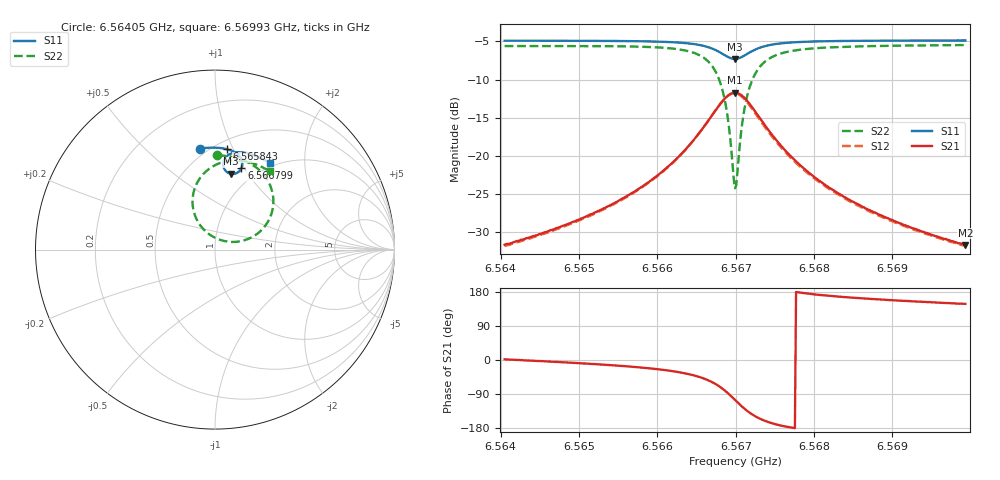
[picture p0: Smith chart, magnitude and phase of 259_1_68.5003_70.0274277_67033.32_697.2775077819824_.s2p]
#  HZ  S  RI  R  50.00
! Rohde & Schwarz Vector Network Analyzer
! Rohde-Schwarz,ZNB20-2Port,1311601062101988,3.16
! Created: UTC 3/20/2024, 5:00:10 PM
! freq[Hz]  re:S11  im:S11  re:S21  im:S21  re:S12  im:S12  re:S22  im:S22
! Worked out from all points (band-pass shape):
!   401 points, 6.56405 GHz to 6.56993 GHz, reference 50 ohm
!   highest |S21| = -11.74 dB at 6.56699 GHz (marker M1); lowest = -31.8 dB at 6.56993 GHz (marker M2)
!   |S21| within 3 dB of the highest: 6.566695 GHz to 6.567284 GHz (588.6 kHz wide, 0.00896 % of centre)
!   lowest |S11| = -7.3 dB at 6.56699 GHz (marker M3), VSWR 2.52, Z = 40.2 + j41.8 ohm
!   |S11| at or under -10 dB: nowhere
!   |S22| runs from -24.3 to -5.5 dB; largest |S21 - S12| = 0.012
!   S11 on the Smith chart (normalised r, x): 6.56405 GHz: 0.45, +0.75; 6.565843 GHz: 0.58, +0.94; 6.566799 GHz: 0.83, +0.97; 6.56993 GHz: 0.94, +1.35
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6.5640497e9  -0.0862 0.5625  0.0259 0.000824  0.0254 0.000281  0.0122 0.5247
6.5650347e9  -0.00691 0.5681  0.0382 -0.00592  0.0376 -0.0065  0.1017 0.515
6.5658433e9  0.0655 0.5595  0.0604 -0.023  0.0593 -0.0237  0.1975 0.4793
6.5660198e9  0.0834 0.5545  0.0683 -0.0316  0.0673 -0.0323  0.2244 0.4619
6.5663285e9  0.1171 0.5379  0.0872 -0.0594  0.0857 -0.0606  0.2799 0.4067
6.566549e9  0.142 0.5125  0.1007 -0.103  0.0984 -0.105  0.3189 0.3222
6.566696e9  0.1524 0.4823  0.0969 -0.156  0.0931 -0.1587  0.3202 0.2213
6.566799e9  0.1475 0.4534  0.0711 -0.2056  0.0647 -0.2082  0.2762 0.1279
6.5668872e9  0.1275 0.4299  0.0199 -0.2439  0.0105 -0.2444  0.1835 0.0587
6.5669607e9  0.0997 0.4213  -0.0423 -0.2542  -0.053 -0.2508  0.0722 0.0443
6.5669901e9  0.0875 0.4225  -0.0687 -0.2497  -0.0787 -0.2443  0.0265 0.055
6.5670195e9  0.0759 0.4266  -0.0936 -0.2401  -0.1028 -0.2331  -0.0159 0.0746
6.5670783e9  0.0573 0.4413  -0.1339 -0.2088  -0.1403 -0.1993  -0.0816 0.1344
6.5671224e9  0.0491 0.4557  -0.1533 -0.1796  -0.1574 -0.1695  -0.1105 0.1878
6.5671812e9  0.0455 0.4756  -0.1656 -0.1403  -0.1669 -0.1307  -0.125 0.2574
6.5672547e9  0.0497 0.4968  -0.1654 -0.0985  -0.1645 -0.0904  -0.1164 0.3298
6.5673723e9  0.0656 0.52  -0.149 -0.0527  -0.1465 -0.0469  -0.0768 0.4071
6.5675193e9  0.0886 0.535  -0.124 -0.0214  -0.1213 -0.018  -0.0219 0.4575
6.5679751e9  0.1472 0.5422  -0.0738 0.00779  -0.072 0.00898  0.0973 0.4963
6.5684014e9  0.1888 0.5347  -0.0514 0.0129  -0.0501 0.0136  0.1642 0.4924
6.5689601e9  0.2351 0.5187  -0.0356 0.0143  -0.0347 0.0145  0.2263 0.4755
6.5699304e9  0.3049 0.4827  -0.0219 0.0137  -0.0215 0.0136  0.3066 0.4356
